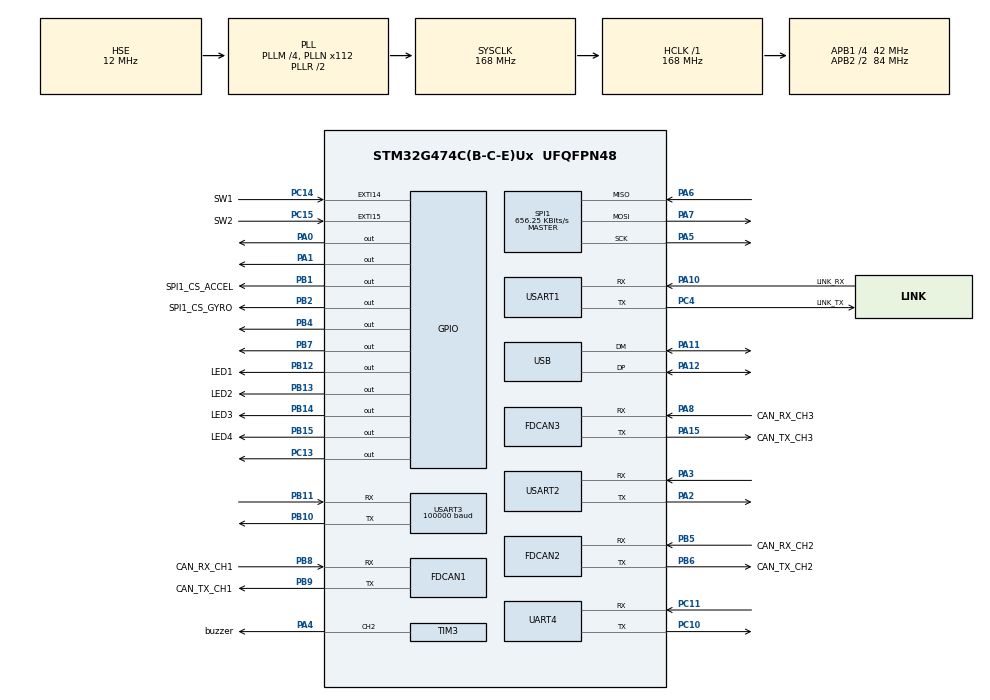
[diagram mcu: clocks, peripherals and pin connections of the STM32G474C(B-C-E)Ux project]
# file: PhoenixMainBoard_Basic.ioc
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Dma.Request0=SPI1_RX
Dma.Request1=SPI1_TX
Dma.Request2=USART2_RX
Dma.Request3=USART2_TX
Dma.Request4=UART4_RX
Dma.Request5=UART4_TX
Dma.Request6=USART3_RX
Dma.SPI1_RX.0.Direction=DMA_PERIPH_TO_MEMORY
Dma.SPI1_RX.0.EventEnable=DISABLE
Dma.SPI1_RX.0.Instance=DMA1_Channel1
Dma.SPI1_RX.0.MemDataAlignment=DMA_MDATAALIGN_BYTE
Dma.SPI1_RX.0.MemInc=DMA_MINC_ENABLE
Dma.SPI1_RX.0.Mode=DMA_NORMAL
Dma.SPI1_RX.0.PeriphDataAlignment=DMA_PDATAALIGN_BYTE
Dma.SPI1_RX.0.PeriphInc=DMA_PINC_DISABLE
Dma.SPI1_RX.0.Polarity=HAL_DMAMUX_REQ_GEN_RISING
Dma.SPI1_RX.0.Priority=DMA_PRIORITY_VERY_HIGH
Dma.SPI1_RX.0.RequestNumber=1
Dma.SPI1_RX.0.SignalID=NONE
Dma.SPI1_RX.0.SyncEnable=DISABLE
Dma.SPI1_RX.0.SyncPolarity=HAL_DMAMUX_SYNC_NO_EVENT
Dma.SPI1_RX.0.SyncRequestNumber=1
Dma.SPI1_RX.0.SyncSignalID=NONE
Dma.SPI1_TX.1.Direction=DMA_MEMORY_TO_PERIPH
Dma.SPI1_TX.1.EventEnable=DISABLE
Dma.SPI1_TX.1.Instance=DMA1_Channel2
Dma.SPI1_TX.1.MemDataAlignment=DMA_MDATAALIGN_BYTE
Dma.SPI1_TX.1.MemInc=DMA_MINC_ENABLE
Dma.SPI1_TX.1.Mode=DMA_NORMAL
Dma.SPI1_TX.1.PeriphDataAlignment=DMA_PDATAALIGN_BYTE
Dma.SPI1_TX.1.PeriphInc=DMA_PINC_DISABLE
Dma.SPI1_TX.1.Polarity=HAL_DMAMUX_REQ_GEN_RISING
Dma.SPI1_TX.1.Priority=DMA_PRIORITY_HIGH
Dma.SPI1_TX.1.RequestNumber=1
Dma.SPI1_TX.1.SignalID=NONE
Dma.SPI1_TX.1.SyncEnable=DISABLE
Dma.SPI1_TX.1.SyncPolarity=HAL_DMAMUX_SYNC_NO_EVENT
Dma.SPI1_TX.1.SyncRequestNumber=1
Dma.SPI1_TX.1.SyncSignalID=NONE
Dma.UART4_RX.4.Direction=DMA_PERIPH_TO_MEMORY
Dma.UART4_RX.4.EventEnable=DISABLE
Dma.UART4_RX.4.Instance=DMA1_Channel5
Dma.UART4_RX.4.MemDataAlignment=DMA_MDATAALIGN_BYTE
Dma.UART4_RX.4.MemInc=DMA_MINC_ENABLE
Dma.UART4_RX.4.Mode=DMA_NORMAL
Dma.UART4_RX.4.PeriphDataAlignment=DMA_PDATAALIGN_BYTE
Dma.UART4_RX.4.PeriphInc=DMA_PINC_DISABLE
Dma.UART4_RX.4.Polarity=HAL_DMAMUX_REQ_GEN_RISING
Dma.UART4_RX.4.Priority=DMA_PRIORITY_HIGH
Dma.UART4_RX.4.RequestNumber=1
Dma.UART4_RX.4.SignalID=NONE
Dma.UART4_RX.4.SyncEnable=DISABLE
Dma.UART4_RX.4.SyncPolarity=HAL_DMAMUX_SYNC_NO_EVENT
Dma.UART4_RX.4.SyncRequestNumber=1
Dma.UART4_RX.4.SyncSignalID=NONE
Dma.UART4_TX.5.Direction=DMA_MEMORY_TO_PERIPH
Dma.UART4_TX.5.EventEnable=DISABLE
Dma.UART4_TX.5.Instance=DMA1_Channel6
Dma.UART4_TX.5.MemDataAlignment=DMA_MDATAALIGN_BYTE
Dma.UART4_TX.5.MemInc=DMA_MINC_ENABLE
Dma.UART4_TX.5.Mode=DMA_NORMAL
Dma.UART4_TX.5.PeriphDataAlignment=DMA_PDATAALIGN_BYTE
Dma.UART4_TX.5.PeriphInc=DMA_PINC_DISABLE
Dma.UART4_TX.5.Polarity=HAL_DMAMUX_REQ_GEN_RISING
Dma.UART4_TX.5.Priority=DMA_PRIORITY_HIGH
Dma.UART4_TX.5.RequestNumber=1
Dma.UART4_TX.5.SignalID=NONE
Dma.UART4_TX.5.SyncEnable=DISABLE
Dma.UART4_TX.5.SyncPolarity=HAL_DMAMUX_SYNC_NO_EVENT
Dma.UART4_TX.5.SyncRequestNumber=1
Dma.UART4_TX.5.SyncSignalID=NONE
Dma.USART2_RX.2.Direction=DMA_PERIPH_TO_MEMORY
Dma.USART2_RX.2.EventEnable=DISABLE
Dma.USART2_RX.2.Instance=DMA1_Channel3
Dma.USART2_RX.2.MemDataAlignment=DMA_MDATAALIGN_BYTE
Dma.USART2_RX.2.MemInc=DMA_MINC_ENABLE
Dma.USART2_RX.2.Mode=DMA_NORMAL
Dma.USART2_RX.2.PeriphDataAlignment=DMA_PDATAALIGN_BYTE
Dma.USART2_RX.2.PeriphInc=DMA_PINC_DISABLE
Dma.USART2_RX.2.Polarity=HAL_DMAMUX_REQ_GEN_RISING
Dma.USART2_RX.2.Priority=DMA_PRIORITY_HIGH
Dma.USART2_RX.2.RequestNumber=1
Dma.USART2_RX.2.SignalID=NONE
Dma.USART2_RX.2.SyncEnable=DISABLE
Dma.USART2_RX.2.SyncPolarity=HAL_DMAMUX_SYNC_NO_EVENT
Dma.USART2_RX.2.SyncRequestNumber=1
Dma.USART2_RX.2.SyncSignalID=NONE
Dma.USART2_TX.3.Direction=DMA_MEMORY_TO_PERIPH
Dma.USART2_TX.3.EventEnable=DISABLE
Dma.USART2_TX.3.Instance=DMA1_Channel4
Dma.USART2_TX.3.MemDataAlignment=DMA_MDATAALIGN_BYTE
Dma.USART2_TX.3.MemInc=DMA_MINC_ENABLE
Dma.USART2_TX.3.Mode=DMA_NORMAL
Dma.USART2_TX.3.PeriphDataAlignment=DMA_PDATAALIGN_BYTE
Dma.USART2_TX.3.PeriphInc=DMA_PINC_DISABLE
Dma.USART2_TX.3.Polarity=HAL_DMAMUX_REQ_GEN_RISING
Dma.USART2_TX.3.Priority=DMA_PRIORITY_HIGH
Dma.USART2_TX.3.RequestNumber=1
Dma.USART2_TX.3.SignalID=NONE
Dma.USART2_TX.3.SyncEnable=DISABLE
Dma.USART2_TX.3.SyncPolarity=HAL_DMAMUX_SYNC_NO_EVENT
Dma.USART2_TX.3.SyncRequestNumber=1
Dma.USART2_TX.3.SyncSignalID=NONE
Dma.USART3_RX.6.Direction=DMA_PERIPH_TO_MEMORY
Dma.USART3_RX.6.EventEnable=DISABLE
Dma.USART3_RX.6.Instance=DMA1_Channel7
Dma.USART3_RX.6.MemDataAlignment=DMA_MDATAALIGN_BYTE
Dma.USART3_RX.6.MemInc=DMA_MINC_ENABLE
Dma.USART3_RX.6.Mode=DMA_NORMAL
Dma.USART3_RX.6.PeriphDataAlignment=DMA_PDATAALIGN_BYTE
Dma.USART3_RX.6.PeriphInc=DMA_PINC_DISABLE
Dma.USART3_RX.6.Polarity=HAL_DMAMUX_REQ_GEN_RISING
Dma.USART3_RX.6.Priority=DMA_PRIORITY_LOW
Dma.USART3_RX.6.RequestNumber=1
Dma.USART3_RX.6.SignalID=NONE
Dma.USART3_RX.6.SyncEnable=DISABLE
Dma.USART3_RX.6.SyncPolarity=HAL_DMAMUX_SYNC_NO_EVENT
Dma.USART3_RX.6.SyncRequestNumber=1
Dma.USART3_RX.6.SyncSignalID=NONE
FDCAN1.AutoRetransmission=ENABLE
FDCAN1.CalculateBaudRateNominal=1000000
FDCAN1.CalculateTimeBitNominal=1000
FDCAN1.CalculateTimeQuantumNominal=71.42857142857143
FDCAN1.NominalPrescaler=3
FDCAN1.NominalTimeSeg1=10
FDCAN1.NominalTimeSeg2=3
FDCAN2.AutoRetransmission=ENABLE
FDCAN2.CalculateBaudRateNominal=1000000
FDCAN2.CalculateTimeBitNominal=1000
FDCAN2.CalculateTimeQuantumNominal=71.42857142857143
FDCAN2.NominalPrescaler=3
FDCAN2.NominalTimeSeg1=10
FDCAN2.NominalTimeSeg2=3
FDCAN3.AutoRetransmission=ENABLE
FDCAN3.CalculateBaudRateNominal=1000000
FDCAN3.CalculateTimeBitNominal=1000
FDCAN3.CalculateTimeQuantumNominal=71.42857142857143
FDCAN3.NominalPrescaler=3
FDCAN3.NominalTimeSeg1=10
FDCAN3.NominalTimeSeg2=3
FREERTOS.INCLUDE_vTaskDelayUntil=1
FREERTOS.MEMORY_ALLOCATION=2
FREERTOS.Tasks01=defaultTask,0,128,StartDefaultTask,Default,NULL,Dynamic,NULL,NULL
FREERTOS.configENABLE_FPU=1
FREERTOS.configMAX_TASK_NAME_LEN=32
FREERTOS.configTOTAL_HEAP_SIZE=20000
FREERTOS.configUSE_COUNTING_SEMAPHORES=1
Mcu.Family=STM32G4
Mcu.Name=STM32G474C(B-C-E)Ux
Mcu.Package=UFQFPN48
NVIC.DMA1_Channel1_IRQn=true\:5\:0\:false\:false\:true\:true\:false\:true\:true
NVIC.DMA1_Channel2_IRQn=true\:5\:0\:false\:false\:true\:true\:false\:true\:true
NVIC.DMA1_Channel3_IRQn=true\:5\:0\:false\:false\:true\:true\:false\:true\:true
NVIC.DMA1_Channel4_IRQn=true\:5\:0\:false\:false\:true\:true\:false\:true\:true
NVIC.DMA1_Channel5_IRQn=true\:5\:0\:false\:false\:true\:true\:false\:true\:true
NVIC.DMA1_Channel6_IRQn=true\:5\:0\:false\:false\:true\:true\:false\:true\:true
NVIC.DMA1_Channel7_IRQn=true\:5\:0\:false\:false\:true\:true\:false\:true\:true
NVIC.EXTI15_10_IRQn=true\:5\:0\:false\:false\:true\:true\:true\:true\:true
NVIC.FDCAN1_IT0_IRQn=true\:5\:0\:false\:false\:true\:true\:true\:true\:true
NVIC.FDCAN1_IT1_IRQn=true\:5\:0\:false\:false\:true\:true\:true\:true\:true
NVIC.FDCAN2_IT0_IRQn=true\:5\:0\:false\:false\:true\:true\:true\:true\:true
NVIC.FDCAN2_IT1_IRQn=true\:5\:0\:false\:false\:true\:true\:true\:true\:true
NVIC.FDCAN3_IT0_IRQn=true\:5\:0\:false\:false\:true\:true\:true\:true\:true
NVIC.FDCAN3_IT1_IRQn=true\:5\:0\:false\:false\:true\:true\:true\:true\:true
NVIC.PriorityGroup=NVIC_PRIORITYGROUP_4
NVIC.TIM1_BRK_TIM15_IRQn=true\:15\:0\:false\:false\:true\:false\:false\:true\:true
NVIC.TimeBase=TIM1_BRK_TIM15_IRQn
NVIC.TimeBaseIP=TIM15
NVIC.UART4_IRQn=true\:5\:0\:false\:false\:true\:true\:false\:true\:true
NVIC.USART2_IRQn=true\:5\:0\:false\:false\:true\:true\:false\:true\:true
NVIC.USART3_IRQn=true\:5\:0\:false\:false\:true\:true\:true\:true\:true
NVIC.USB_LP_IRQn=true\:5\:0\:false\:false\:true\:true\:false\:true\:true
PA0.GPIO_ModeDefaultOutputPP=GPIO_MODE_OUTPUT_PP
PA0.GPIO_PuPd=GPIO_NOPULL
PA0.GPIO_Speed=GPIO_SPEED_FREQ_LOW
PA0.PinState=GPIO_PIN_RESET
PA0.Signal=GPIO_Output
PA1.Signal=GPIO_Output
PA10.GPIO_Label=LINK_RX
PA10.Mode=Asynchronous
PA10.Signal=USART1_RX
PA11.Mode=Device
PA11.Signal=USB_DM
PA12.Mode=Device
PA12.Signal=USB_DP
PA13.Mode=Serial_Wire
PA13.Signal=SYS_JTMS-SWDIO
PA14.Mode=Serial_Wire
PA14.Signal=SYS_JTCK-SWCLK
PA15.GPIO_Label=CAN_TX_CH3
PA15.Mode=FDCAN_Activate
PA15.Signal=FDCAN3_TX
PA2.Mode=Asynchronous
PA2.Signal=USART2_TX
PA3.Mode=Asynchronous
PA3.Signal=USART2_RX
PA4.GPIO_Label=buzzer
PA4.Signal=S_TIM3_CH2
PA5.GPIO_Speed=GPIO_SPEED_FREQ_VERY_HIGH
PA5.Mode=Full_Duplex_Master
PA5.Signal=SPI1_SCK
PA6.GPIO_Speed=GPIO_SPEED_FREQ_VERY_HIGH
PA6.Mode=Full_Duplex_Master
PA6.Signal=SPI1_MISO
PA7.GPIO_Speed=GPIO_SPEED_FREQ_VERY_HIGH
PA7.Mode=Full_Duplex_Master
PA7.Signal=SPI1_MOSI
PA8.GPIO_Label=CAN_RX_CH3
PA8.GPIO_Speed=GPIO_SPEED_FREQ_VERY_HIGH
PA8.Mode=FDCAN_Activate
PA8.Signal=FDCAN3_RX
PB1.GPIO_Label=SPI1_CS_ACCEL
PB1.GPIO_PuPd=GPIO_PULLUP
PB1.GPIO_Speed=GPIO_SPEED_FREQ_HIGH
PB1.PinState=GPIO_PIN_SET
PB1.Signal=GPIO_Output
PB10.GPIO_Speed=GPIO_SPEED_FREQ_VERY_HIGH
PB10.Mode=Asynchronous
PB10.Signal=USART3_TX
PB11.GPIO_Speed=GPIO_SPEED_FREQ_VERY_HIGH
PB11.Mode=Asynchronous
PB11.Signal=USART3_RX
PB12.GPIO_Label=LED1
PB12.Signal=GPIO_Output
PB13.GPIO_Label=LED2
PB13.Signal=GPIO_Output
PB14.GPIO_Label=LED3
PB14.Signal=GPIO_Output
PB15.GPIO_Label=LED4
PB15.Signal=GPIO_Output
PB2.GPIO_Label=SPI1_CS_GYRO
PB2.GPIO_PuPd=GPIO_PULLUP
PB2.GPIO_Speed=GPIO_SPEED_FREQ_HIGH
PB2.PinState=GPIO_PIN_SET
PB2.Signal=GPIO_Output
PB4.Signal=GPIO_Output
PB5.GPIO_Label=CAN_RX_CH2
PB5.GPIO_Speed=GPIO_SPEED_FREQ_VERY_HIGH
PB5.Mode=FDCAN_Activate
PB5.Signal=FDCAN2_RX
PB6.GPIO_FM6=__NULL
PB6.GPIO_Label=CAN_TX_CH2
PB6.GPIO_Speed=GPIO_SPEED_FREQ_VERY_HIGH
PB6.Mode=FDCAN_Activate
PB6.Signal=FDCAN2_TX
PB7.Signal=GPIO_Output
PB8-BOOT0.GPIO_Label=CAN_RX_CH1
PB8-BOOT0.Mode=FDCAN_Activate
PB8-BOOT0.Signal=FDCAN1_RX
PB9.GPIO_Label=CAN_TX_CH1
PB9.Mode=FDCAN_Activate
PB9.Signal=FDCAN1_TX
PC10.Mode=Asynchronous
PC10.Signal=UART4_TX
PC11.Mode=Asynchronous
PC11.Signal=UART4_RX
PC13.Signal=GPIO_Output
PC14-OSC32_IN.GPIO_Label=SW1
PC14-OSC32_IN.GPIO_PuPd=GPIO_PULLDOWN
PC14-OSC32_IN.Signal=GPXTI14
PC15-OSC32_OUT.GPIO_Label=SW2
PC15-OSC32_OUT.GPIO_PuPd=GPIO_PULLDOWN
PC15-OSC32_OUT.Signal=GPXTI15
PC4.GPIO_Label=LINK_TX
PC4.Mode=Asynchronous
PC4.Signal=USART1_TX
PF0-OSC_IN.Mode=HSE-External-Oscillator
PF0-OSC_IN.Signal=RCC_OSC_IN
PF1-OSC_OUT.Mode=HSE-External-Oscillator
PF1-OSC_OUT.Signal=RCC_OSC_OUT
ProjectManager.HeapSize=0x200
ProjectManager.StackSize=0x400
ProjectManager.TargetToolchain=Makefile
RCC.ADC12Freq_Value=168000000
RCC.ADC345Freq_Value=168000000
RCC.AHBFreq_Value=168000000
RCC.APB1CLKDivider=RCC_HCLK_DIV4
RCC.APB1Freq_Value=42000000
RCC.APB1TimFreq_Value=84000000
RCC.APB2CLKDivider=RCC_HCLK_DIV2
RCC.APB2Freq_Value=84000000
RCC.APB2TimFreq_Value=168000000
RCC.CK48CLockSelection=RCC_USBCLKSOURCE_HSI48
RCC.CortexFreq_Value=168000000
RCC.EXTERNAL_CLOCK_VALUE=12288000
RCC.HCLKFreq_Value=168000000
RCC.HSE_VALUE=12000000
RCC.HSI48_VALUE=48000000
RCC.HSI_VALUE=16000000
RCC.LSE_VALUE=32768
RCC.PLLM=RCC_PLLM_DIV4
RCC.PLLN=112
RCC.PLLQ=RCC_PLLQ_DIV8
RCC.PLLSourceVirtual=RCC_PLLSOURCE_HSE
RCC.SYSCLKFreq_VALUE=168000000
RCC.SYSCLKSource=RCC_SYSCLKSOURCE_PLLCLK
RCC.USBFreq_Value=48000000
RCC.VCOOutputFreq_Value=336000000
SH.S_TIM3_CH2.0=TIM3_CH2,PWM Generation2 CH2
SPI1.BaudRatePrescaler=SPI_BAUDRATEPRESCALER_128
SPI1.CLKPhase=SPI_PHASE_2EDGE
SPI1.CLKPolarity=SPI_POLARITY_HIGH
SPI1.CalculateBaudRate=656.25 KBits/s
SPI1.DataSize=SPI_DATASIZE_8BIT
SPI1.Direction=SPI_DIRECTION_2LINES
SPI1.Mode=SPI_MODE_MASTER
SPI1.VirtualType=VM_MASTER
STMicroelectronics.X-CUBE-ALGOBUILD.1.4.0.LibraryCcDSPOoLibraryJjDSPOoLibrary=true
TIM3.Channel-PWM\ Generation2\ CH2=TIM_CHANNEL_2
TIM3.Prescaler=4
USART1.VirtualMode-Asynchronous=VM_ASYNC
USART2.VirtualMode-Asynchronous=VM_ASYNC
USART3.BaudRate=100000
USART3.Parity=PARITY_EVEN
USART3.VirtualMode-Asynchronous=VM_ASYNC
USART3.WordLength=WORDLENGTH_9B
USB_DEVICE.CLASS_NAME_FS=CDC
USB_DEVICE.VirtualMode=Cdc
USB_DEVICE.VirtualModeFS=Cdc_FS
VP_FREERTOS_VS_CMSIS_V1.Mode=CMSIS_V1
VP_STMicroelectronics.X-CUBE-ALGOBUILD_VS_DSPOoLibraryJjLibrary_1.4.0_1.4.0.Mode=DSPOoLibraryJjLibrary
VP_SYS_VS_DBSignals.Mode=DisableDeadBatterySignals
VP_SYS_VS_tim15.Mode=TIM15
VP_USB_DEVICE_VS_USB_DEVICE_CDC_FS.Mode=CDC_FS
board=custom

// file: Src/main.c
/* USER CODE BEGIN Header */
/**
  ******************************************************************************
  * @file           : main.c
  * @brief          : Main program body
  ******************************************************************************
  * @attention
  *
  * <h2><center>&copy; Copyright (c) 2019 STMicroelectronics.
  * All rights reserved.</center></h2>
  *
  * This software component is licensed by ST under Ultimate Liberty license
  * SLA0044, the "License"; You may not use this file except in compliance with
  * the License. You may obtain a copy of the License at:
  *                             www.st.com/SLA0044
  *
  ******************************************************************************
  */
/* USER CODE END Header */
#include "main.h"
#include "cmsis_os.h"
#include "usb_device.h"

/* USER CODE BEGIN Includes */
#include "BMI088driver.h"
#include "BMI088Middleware.h"
/* USER CODE END Includes */

FDCAN_HandleTypeDef hfdcan1;
FDCAN_HandleTypeDef hfdcan2;
FDCAN_HandleTypeDef hfdcan3;

SPI_HandleTypeDef hspi1;
DMA_HandleTypeDef hdma_spi1_rx;
DMA_HandleTypeDef hdma_spi1_tx;

TIM_HandleTypeDef htim3;

UART_HandleTypeDef huart4;
UART_HandleTypeDef huart1;
UART_HandleTypeDef huart2;
UART_HandleTypeDef huart3;
DMA_HandleTypeDef hdma_uart4_rx;
DMA_HandleTypeDef hdma_uart4_tx;
DMA_HandleTypeDef hdma_usart2_rx;
DMA_HandleTypeDef hdma_usart2_tx;
DMA_HandleTypeDef hdma_usart3_rx;

osThreadId defaultTaskHandle;
/* USER CODE BEGIN PV */
FDCAN_TxHeaderTypeDef  TxHeader;
FDCAN_RxHeaderTypeDef  RxHeader;
FDCAN_FilterTypeDef  sFilterConfig;

uint8_t               TxData[8];
uint8_t               RxData[8];
uint32_t              TxMailbox;
/* USER CODE END PV */

void SystemClock_Config(void);
static void MX_GPIO_Init(void);
static void MX_DMA_Init(void);
static void MX_FDCAN1_Init(void);
static void MX_FDCAN2_Init(void);
static void MX_SPI1_Init(void);
static void MX_UART4_Init(void);
static void MX_USART1_UART_Init(void);
static void MX_USART2_UART_Init(void);
static void MX_USART3_UART_Init(void);
static void MX_FDCAN3_Init(void);
static void MX_TIM3_Init(void);
void StartDefaultTask(void const * argument);

/* USER CODE BEGIN PFP */
void buzzer_beep(int init_fre, int cnt);
void testCanSend(uint16_t current);
void setPSC(uint32_t TIMHz,uint32_t destFreq, TIM_HandleTypeDef* htim, uint32_t Channel, uint32_t MaxCounterPeriod);

/* USER CODE END PFP */

/* USER CODE BEGIN 0 */
fp32 gyro[3], accel[3], temp;
float accelx,accely,accelz;
float gyrox,gyroy,gyroz;
int counter=0;
int checker=0;
int exti = 0;
int freq = 2100,cnt_req=1;
uint8_t tx_data,rx_data,res;
uint16_t current=0;
/* USER CODE END 0 */

int main(void)
{

  /* MCU Configuration--------------------------------------------------------*/

  /* Reset of all peripherals, Initializes the Flash interface and the Systick. */
  HAL_Init();

  /* Configure the system clock */
  SystemClock_Config();

  /* Initialize all configured peripherals */
  MX_GPIO_Init();
  MX_DMA_Init();
  MX_FDCAN1_Init();
  MX_FDCAN2_Init();
  MX_SPI1_Init();
  MX_UART4_Init();
  MX_USART1_UART_Init();
  MX_USART2_UART_Init();
  MX_USART3_UART_Init();
  MX_FDCAN3_Init();
  MX_TIM3_Init();
  /* USER CODE BEGIN 2 */
  checker = 1;
  // BMI088_initはBMI088_Delay_usにバグがある�?????��?��??��?��???��?��??��?��でHAL_Delayに入れ替えれば動く
  while(BMI088_init())
  {
      ;
  }

  //CAN init
  if (HAL_FDCAN_Start(&hfdcan1) != HAL_OK){ Error_Handler();}
  if (HAL_FDCAN_Start(&hfdcan2) != HAL_OK){ Error_Handler();}
  if (HAL_FDCAN_Start(&hfdcan3) != HAL_OK){ Error_Handler();}

  if (HAL_FDCAN_ActivateNotification(&hfdcan1, FDCAN_IT_RX_FIFO0_NEW_MESSAGE, 0) != HAL_OK) {	Error_Handler(); }
  if (HAL_FDCAN_ActivateNotification(&hfdcan2, FDCAN_IT_RX_FIFO0_NEW_MESSAGE, 0) != HAL_OK) {	Error_Handler(); }
  if (HAL_FDCAN_ActivateNotification(&hfdcan3, FDCAN_IT_RX_FIFO0_NEW_MESSAGE, 0) != HAL_OK) {	Error_Handler(); }

  //PWM init
  HAL_TIM_PWM_Start(&htim3, TIM_CHANNEL_2);
  int init_fre = 2100;
  int cnt = 2;
  buzzer_beep(init_fre,cnt);

	HAL_GPIO_WritePin(LED1_GPIO_Port,LED1_Pin,GPIO_PIN_SET);
	HAL_GPIO_WritePin(LED2_GPIO_Port,LED2_Pin,GPIO_PIN_SET);
	HAL_GPIO_WritePin(LED3_GPIO_Port,LED3_Pin,GPIO_PIN_SET);
	HAL_GPIO_WritePin(LED4_GPIO_Port,LED4_Pin,GPIO_PIN_SET);
  checker = 2;
  /* USER CODE END 2 */

  /* Create the thread(s) */
  /* definition and creation of defaultTask */
  osThreadDef(defaultTask, StartDefaultTask, osPriorityNormal, 0, 128);
  defaultTaskHandle = osThreadCreate(osThread(defaultTask), NULL);

  /* USER CODE BEGIN RTOS_THREADS */
  /* add threads, ... */
  checker = 3;
  /* USER CODE END RTOS_THREADS */

  /* Start scheduler */
  osKernelStart();

  /* We should never get here as control is now taken by the scheduler */

  /* Infinite loop */
  /* USER CODE BEGIN WHILE */
  checker = 4;
  while (1)
  {
    /* USER CODE END WHILE */

  }
}

void SystemClock_Config(void)
{
  RCC_OscInitTypeDef RCC_OscInitStruct = {0};
  RCC_ClkInitTypeDef RCC_ClkInitStruct = {0};

  /** Configure the main internal regulator output voltage
  */
  HAL_PWREx_ControlVoltageScaling(PWR_REGULATOR_VOLTAGE_SCALE1_BOOST);

  /** Initializes the RCC Oscillators according to the specified parameters
  * in the RCC_OscInitTypeDef structure.
  */
  RCC_OscInitStruct.OscillatorType = RCC_OSCILLATORTYPE_HSI48|RCC_OSCILLATORTYPE_HSE;
  RCC_OscInitStruct.HSEState = RCC_HSE_ON;
  RCC_OscInitStruct.HSI48State = RCC_HSI48_ON;
  RCC_OscInitStruct.PLL.PLLState = RCC_PLL_ON;
  RCC_OscInitStruct.PLL.PLLSource = RCC_PLLSOURCE_HSE;
  RCC_OscInitStruct.PLL.PLLM = RCC_PLLM_DIV4;
  RCC_OscInitStruct.PLL.PLLN = 112;
  RCC_OscInitStruct.PLL.PLLP = RCC_PLLP_DIV2;
  RCC_OscInitStruct.PLL.PLLQ = RCC_PLLQ_DIV8;
  RCC_OscInitStruct.PLL.PLLR = RCC_PLLR_DIV2;
  if (HAL_RCC_OscConfig(&RCC_OscInitStruct) != HAL_OK)
  {
    Error_Handler();
  }

  /** Initializes the CPU, AHB and APB buses clocks
  */
  RCC_ClkInitStruct.ClockType = RCC_CLOCKTYPE_HCLK|RCC_CLOCKTYPE_SYSCLK
                              |RCC_CLOCKTYPE_PCLK1|RCC_CLOCKTYPE_PCLK2;
  RCC_ClkInitStruct.SYSCLKSource = RCC_SYSCLKSOURCE_PLLCLK;
  RCC_ClkInitStruct.AHBCLKDivider = RCC_SYSCLK_DIV1;
  RCC_ClkInitStruct.APB1CLKDivider = RCC_HCLK_DIV4;
  RCC_ClkInitStruct.APB2CLKDivider = RCC_HCLK_DIV2;

  if (HAL_RCC_ClockConfig(&RCC_ClkInitStruct, FLASH_LATENCY_4) != HAL_OK)
  {
    Error_Handler();
  }
}

static void MX_FDCAN1_Init(void)
{

  hfdcan1.Instance = FDCAN1;
  hfdcan1.Init.ClockDivider = FDCAN_CLOCK_DIV1;
  hfdcan1.Init.FrameFormat = FDCAN_FRAME_CLASSIC;
  hfdcan1.Init.Mode = FDCAN_MODE_NORMAL;
  hfdcan1.Init.AutoRetransmission = ENABLE;
  hfdcan1.Init.TransmitPause = DISABLE;
  hfdcan1.Init.ProtocolException = DISABLE;
  hfdcan1.Init.NominalPrescaler = 3;
  hfdcan1.Init.NominalSyncJumpWidth = 1;
  hfdcan1.Init.NominalTimeSeg1 = 10;
  hfdcan1.Init.NominalTimeSeg2 = 3;
  hfdcan1.Init.DataPrescaler = 1;
  hfdcan1.Init.DataSyncJumpWidth = 1;
  hfdcan1.Init.DataTimeSeg1 = 1;
  hfdcan1.Init.DataTimeSeg2 = 1;
  hfdcan1.Init.StdFiltersNbr = 0;
  hfdcan1.Init.ExtFiltersNbr = 0;
  hfdcan1.Init.TxFifoQueueMode = FDCAN_TX_FIFO_OPERATION;
  if (HAL_FDCAN_Init(&hfdcan1) != HAL_OK)
  {
    Error_Handler();
  }

}

static void MX_FDCAN2_Init(void)
{

  hfdcan2.Instance = FDCAN2;
  hfdcan2.Init.ClockDivider = FDCAN_CLOCK_DIV1;
  hfdcan2.Init.FrameFormat = FDCAN_FRAME_CLASSIC;
  hfdcan2.Init.Mode = FDCAN_MODE_NORMAL;
  hfdcan2.Init.AutoRetransmission = ENABLE;
  hfdcan2.Init.TransmitPause = DISABLE;
  hfdcan2.Init.ProtocolException = DISABLE;
  hfdcan2.Init.NominalPrescaler = 3;
  hfdcan2.Init.NominalSyncJumpWidth = 1;
  hfdcan2.Init.NominalTimeSeg1 = 10;
  hfdcan2.Init.NominalTimeSeg2 = 3;
  hfdcan2.Init.DataPrescaler = 1;
  hfdcan2.Init.DataSyncJumpWidth = 1;
  hfdcan2.Init.DataTimeSeg1 = 1;
  hfdcan2.Init.DataTimeSeg2 = 1;
  hfdcan2.Init.StdFiltersNbr = 0;
  hfdcan2.Init.ExtFiltersNbr = 0;
  hfdcan2.Init.TxFifoQueueMode = FDCAN_TX_FIFO_OPERATION;
  if (HAL_FDCAN_Init(&hfdcan2) != HAL_OK)
  {
    Error_Handler();
  }

}

static void MX_FDCAN3_Init(void)
{

  hfdcan3.Instance = FDCAN3;
  hfdcan3.Init.ClockDivider = FDCAN_CLOCK_DIV1;
  hfdcan3.Init.FrameFormat = FDCAN_FRAME_CLASSIC;
  hfdcan3.Init.Mode = FDCAN_MODE_NORMAL;
  hfdcan3.Init.AutoRetransmission = ENABLE;
  hfdcan3.Init.TransmitPause = DISABLE;
  hfdcan3.Init.ProtocolException = DISABLE;
  hfdcan3.Init.NominalPrescaler = 3;
  hfdcan3.Init.NominalSyncJumpWidth = 1;
  hfdcan3.Init.NominalTimeSeg1 = 10;
  hfdcan3.Init.NominalTimeSeg2 = 3;
  hfdcan3.Init.DataPrescaler = 1;
  hfdcan3.Init.DataSyncJumpWidth = 1;
  hfdcan3.Init.DataTimeSeg1 = 1;
  hfdcan3.Init.DataTimeSeg2 = 1;
  hfdcan3.Init.StdFiltersNbr = 0;
  hfdcan3.Init.ExtFiltersNbr = 0;
  hfdcan3.Init.TxFifoQueueMode = FDCAN_TX_FIFO_OPERATION;
  if (HAL_FDCAN_Init(&hfdcan3) != HAL_OK)
  {
    Error_Handler();
  }

}

static void MX_SPI1_Init(void)
{

  /* SPI1 parameter configuration*/
  hspi1.Instance = SPI1;
  hspi1.Init.Mode = SPI_MODE_MASTER;
  hspi1.Init.Direction = SPI_DIRECTION_2LINES;
  hspi1.Init.DataSize = SPI_DATASIZE_8BIT;
  hspi1.Init.CLKPolarity = SPI_POLARITY_HIGH;
  hspi1.Init.CLKPhase = SPI_PHASE_2EDGE;
  hspi1.Init.NSS = SPI_NSS_SOFT;
  hspi1.Init.BaudRatePrescaler = SPI_BAUDRATEPRESCALER_128;
  hspi1.Init.FirstBit = SPI_FIRSTBIT_MSB;
  hspi1.Init.TIMode = SPI_TIMODE_DISABLE;
  hspi1.Init.CRCCalculation = SPI_CRCCALCULATION_DISABLE;
  hspi1.Init.CRCPolynomial = 7;
  hspi1.Init.CRCLength = SPI_CRC_LENGTH_DATASIZE;
  hspi1.Init.NSSPMode = SPI_NSS_PULSE_DISABLE;
  if (HAL_SPI_Init(&hspi1) != HAL_OK)
  {
    Error_Handler();
  }

}

static void MX_TIM3_Init(void)
{

  TIM_MasterConfigTypeDef sMasterConfig = {0};
  TIM_OC_InitTypeDef sConfigOC = {0};

  htim3.Instance = TIM3;
  htim3.Init.Prescaler = 4;
  htim3.Init.CounterMode = TIM_COUNTERMODE_UP;
  htim3.Init.Period = 65535;
  htim3.Init.ClockDivision = TIM_CLOCKDIVISION_DIV1;
  htim3.Init.AutoReloadPreload = TIM_AUTORELOAD_PRELOAD_DISABLE;
  if (HAL_TIM_PWM_Init(&htim3) != HAL_OK)
  {
    Error_Handler();
  }
  sMasterConfig.MasterOutputTrigger = TIM_TRGO_RESET;
  sMasterConfig.MasterSlaveMode = TIM_MASTERSLAVEMODE_DISABLE;
  if (HAL_TIMEx_MasterConfigSynchronization(&htim3, &sMasterConfig) != HAL_OK)
  {
    Error_Handler();
  }
  sConfigOC.OCMode = TIM_OCMODE_PWM1;
  sConfigOC.Pulse = 0;
  sConfigOC.OCPolarity = TIM_OCPOLARITY_HIGH;
  sConfigOC.OCFastMode = TIM_OCFAST_DISABLE;
  if (HAL_TIM_PWM_ConfigChannel(&htim3, &sConfigOC, TIM_CHANNEL_2) != HAL_OK)
  {
    Error_Handler();
  }
  HAL_TIM_MspPostInit(&htim3);

}

static void MX_UART4_Init(void)
{

  huart4.Instance = UART4;
  huart4.Init.BaudRate = 115200;
  huart4.Init.WordLength = UART_WORDLENGTH_8B;
  huart4.Init.StopBits = UART_STOPBITS_1;
  huart4.Init.Parity = UART_PARITY_NONE;
  huart4.Init.Mode = UART_MODE_TX_RX;
  huart4.Init.HwFlowCtl = UART_HWCONTROL_NONE;
  huart4.Init.OverSampling = UART_OVERSAMPLING_16;
  huart4.Init.OneBitSampling = UART_ONE_BIT_SAMPLE_DISABLE;
  huart4.Init.ClockPrescaler = UART_PRESCALER_DIV1;
  huart4.AdvancedInit.AdvFeatureInit = UART_ADVFEATURE_NO_INIT;
  if (HAL_UART_Init(&huart4) != HAL_OK)
  {
    Error_Handler();
  }
  if (HAL_UARTEx_SetTxFifoThreshold(&huart4, UART_TXFIFO_THRESHOLD_1_8) != HAL_OK)
  {
    Error_Handler();
  }
  if (HAL_UARTEx_SetRxFifoThreshold(&huart4, UART_RXFIFO_THRESHOLD_1_8) != HAL_OK)
  {
    Error_Handler();
  }
  if (HAL_UARTEx_DisableFifoMode(&huart4) != HAL_OK)
  {
    Error_Handler();
  }

}

static void MX_USART1_UART_Init(void)
{

  huart1.Instance = USART1;
  huart1.Init.BaudRate = 115200;
  huart1.Init.WordLength = UART_WORDLENGTH_8B;
  huart1.Init.StopBits = UART_STOPBITS_1;
  huart1.Init.Parity = UART_PARITY_NONE;
  huart1.Init.Mode = UART_MODE_TX_RX;
  huart1.Init.HwFlowCtl = UART_HWCONTROL_NONE;
  huart1.Init.OverSampling = UART_OVERSAMPLING_16;
  huart1.Init.OneBitSampling = UART_ONE_BIT_SAMPLE_DISABLE;
  huart1.Init.ClockPrescaler = UART_PRESCALER_DIV1;
  huart1.AdvancedInit.AdvFeatureInit = UART_ADVFEATURE_NO_INIT;
  if (HAL_UART_Init(&huart1) != HAL_OK)
  {
    Error_Handler();
  }
  if (HAL_UARTEx_SetTxFifoThreshold(&huart1, UART_TXFIFO_THRESHOLD_1_8) != HAL_OK)
  {
    Error_Handler();
  }
  if (HAL_UARTEx_SetRxFifoThreshold(&huart1, UART_RXFIFO_THRESHOLD_1_8) != HAL_OK)
  {
    Error_Handler();
  }
  if (HAL_UARTEx_DisableFifoMode(&huart1) != HAL_OK)
  {
    Error_Handler();
  }

}

static void MX_USART2_UART_Init(void)
{

  huart2.Instance = USART2;
  huart2.Init.BaudRate = 115200;
  huart2.Init.WordLength = UART_WORDLENGTH_8B;
  huart2.Init.StopBits = UART_STOPBITS_1;
  huart2.Init.Parity = UART_PARITY_NONE;
  huart2.Init.Mode = UART_MODE_TX_RX;
  huart2.Init.HwFlowCtl = UART_HWCONTROL_NONE;
  huart2.Init.OverSampling = UART_OVERSAMPLING_16;
  huart2.Init.OneBitSampling = UART_ONE_BIT_SAMPLE_DISABLE;
  huart2.Init.ClockPrescaler = UART_PRESCALER_DIV1;
  huart2.AdvancedInit.AdvFeatureInit = UART_ADVFEATURE_NO_INIT;
  if (HAL_UART_Init(&huart2) != HAL_OK)
  {
    Error_Handler();
  }
  if (HAL_UARTEx_SetTxFifoThreshold(&huart2, UART_TXFIFO_THRESHOLD_1_8) != HAL_OK)
  {
    Error_Handler();
  }
  if (HAL_UARTEx_SetRxFifoThreshold(&huart2, UART_RXFIFO_THRESHOLD_1_8) != HAL_OK)
  {
    Error_Handler();
  }
  if (HAL_UARTEx_DisableFifoMode(&huart2) != HAL_OK)
  {
    Error_Handler();
  }

}

static void MX_USART3_UART_Init(void)
{

  huart3.Instance = USART3;
  huart3.Init.BaudRate = 100000;
  huart3.Init.WordLength = UART_WORDLENGTH_9B;
  huart3.Init.StopBits = UART_STOPBITS_1;
  huart3.Init.Parity = UART_PARITY_EVEN;
  huart3.Init.Mode = UART_MODE_TX_RX;
  huart3.Init.HwFlowCtl = UART_HWCONTROL_NONE;
  huart3.Init.OverSampling = UART_OVERSAMPLING_16;
  huart3.Init.OneBitSampling = UART_ONE_BIT_SAMPLE_DISABLE;
  huart3.Init.ClockPrescaler = UART_PRESCALER_DIV1;
  huart3.AdvancedInit.AdvFeatureInit = UART_ADVFEATURE_NO_INIT;
  if (HAL_UART_Init(&huart3) != HAL_OK)
  {
    Error_Handler();
  }
  if (HAL_UARTEx_SetTxFifoThreshold(&huart3, UART_TXFIFO_THRESHOLD_1_8) != HAL_OK)
  {
    Error_Handler();
  }
  if (HAL_UARTEx_SetRxFifoThreshold(&huart3, UART_RXFIFO_THRESHOLD_1_8) != HAL_OK)
  {
    Error_Handler();
  }
  if (HAL_UARTEx_DisableFifoMode(&huart3) != HAL_OK)
  {
    Error_Handler();
  }

}

static void MX_DMA_Init(void)
{

  /* DMA controller clock enable */
  __HAL_RCC_DMAMUX1_CLK_ENABLE();
  __HAL_RCC_DMA1_CLK_ENABLE();

  /* DMA interrupt init */
  /* DMA1_Channel1_IRQn interrupt configuration */
  HAL_NVIC_SetPriority(DMA1_Channel1_IRQn, 5, 0);
  HAL_NVIC_EnableIRQ(DMA1_Channel1_IRQn);
  /* DMA1_Channel2_IRQn interrupt configuration */
  HAL_NVIC_SetPriority(DMA1_Channel2_IRQn, 5, 0);
  HAL_NVIC_EnableIRQ(DMA1_Channel2_IRQn);
  /* DMA1_Channel3_IRQn interrupt configuration */
  HAL_NVIC_SetPriority(DMA1_Channel3_IRQn, 5, 0);
  HAL_NVIC_EnableIRQ(DMA1_Channel3_IRQn);
  /* DMA1_Channel4_IRQn interrupt configuration */
  HAL_NVIC_SetPriority(DMA1_Channel4_IRQn, 5, 0);
  HAL_NVIC_EnableIRQ(DMA1_Channel4_IRQn);
  /* DMA1_Channel5_IRQn interrupt configuration */
  HAL_NVIC_SetPriority(DMA1_Channel5_IRQn, 5, 0);
  HAL_NVIC_EnableIRQ(DMA1_Channel5_IRQn);
  /* DMA1_Channel6_IRQn interrupt configuration */
  HAL_NVIC_SetPriority(DMA1_Channel6_IRQn, 5, 0);
  HAL_NVIC_EnableIRQ(DMA1_Channel6_IRQn);
  /* DMA1_Channel7_IRQn interrupt configuration */
  HAL_NVIC_SetPriority(DMA1_Channel7_IRQn, 5, 0);
  HAL_NVIC_EnableIRQ(DMA1_Channel7_IRQn);

}

static void MX_GPIO_Init(void)
{
  GPIO_InitTypeDef GPIO_InitStruct = {0};

  /* GPIO Ports Clock Enable */
  __HAL_RCC_GPIOC_CLK_ENABLE();
  __HAL_RCC_GPIOF_CLK_ENABLE();
  __HAL_RCC_GPIOA_CLK_ENABLE();
  __HAL_RCC_GPIOB_CLK_ENABLE();

  /*Configure GPIO pin Output Level */
  HAL_GPIO_WritePin(GPIOC, GPIO_PIN_13, GPIO_PIN_RESET);

  /*Configure GPIO pin Output Level */
  HAL_GPIO_WritePin(GPIOA, GPIO_PIN_0|GPIO_PIN_1, GPIO_PIN_RESET);

  /*Configure GPIO pin Output Level */
  HAL_GPIO_WritePin(GPIOB, SPI1_CS_ACCEL_Pin|SPI1_CS_GYRO_Pin, GPIO_PIN_SET);

  /*Configure GPIO pin Output Level */
  HAL_GPIO_WritePin(GPIOB, LED1_Pin|LED2_Pin|LED3_Pin|LED4_Pin
                          |GPIO_PIN_4|GPIO_PIN_7, GPIO_PIN_RESET);

  /*Configure GPIO pin : PC13 */
  GPIO_InitStruct.Pin = GPIO_PIN_13;
  GPIO_InitStruct.Mode = GPIO_MODE_OUTPUT_PP;
  GPIO_InitStruct.Pull = GPIO_NOPULL;
  GPIO_InitStruct.Speed = GPIO_SPEED_FREQ_LOW;
  HAL_GPIO_Init(GPIOC, &GPIO_InitStruct);

  /*Configure GPIO pins : SW1_Pin SW2_Pin */
  GPIO_InitStruct.Pin = SW1_Pin|SW2_Pin;
  GPIO_InitStruct.Mode = GPIO_MODE_IT_RISING;
  GPIO_InitStruct.Pull = GPIO_PULLDOWN;
  HAL_GPIO_Init(GPIOC, &GPIO_InitStruct);

  /*Configure GPIO pins : PA0 PA1 */
  GPIO_InitStruct.Pin = GPIO_PIN_0|GPIO_PIN_1;
  GPIO_InitStruct.Mode = GPIO_MODE_OUTPUT_PP;
  GPIO_InitStruct.Pull = GPIO_NOPULL;
  GPIO_InitStruct.Speed = GPIO_SPEED_FREQ_LOW;
  HAL_GPIO_Init(GPIOA, &GPIO_InitStruct);

  /*Configure GPIO pins : SPI1_CS_ACCEL_Pin SPI1_CS_GYRO_Pin */
  GPIO_InitStruct.Pin = SPI1_CS_ACCEL_Pin|SPI1_CS_GYRO_Pin;
  GPIO_InitStruct.Mode = GPIO_MODE_OUTPUT_PP;
  GPIO_InitStruct.Pull = GPIO_PULLUP;
  GPIO_InitStruct.Speed = GPIO_SPEED_FREQ_HIGH;
  HAL_GPIO_Init(GPIOB, &GPIO_InitStruct);

  /*Configure GPIO pins : LED1_Pin LED2_Pin LED3_Pin LED4_Pin
                           PB4 PB7 */
  GPIO_InitStruct.Pin = LED1_Pin|LED2_Pin|LED3_Pin|LED4_Pin
                          |GPIO_PIN_4|GPIO_PIN_7;
  GPIO_InitStruct.Mode = GPIO_MODE_OUTPUT_PP;
  GPIO_InitStruct.Pull = GPIO_NOPULL;
  GPIO_InitStruct.Speed = GPIO_SPEED_FREQ_LOW;
  HAL_GPIO_Init(GPIOB, &GPIO_InitStruct);

  /* EXTI interrupt init*/
  HAL_NVIC_SetPriority(EXTI15_10_IRQn, 5, 0);
  HAL_NVIC_EnableIRQ(EXTI15_10_IRQn);

}

/* USER CODE BEGIN 4 */
void buzzer_beep(int init_fre, int cnt){
  for(int i=0;i<cnt;i++) {
    //第?????��?��??��?��???��?��??��?��????��?��??��?��???��?��??��?��引数に鳴らしたい周波数を設????��?��??��?��???��?��??��?��?
		setPSC(168000000, init_fre, &htim3, TIM_CHANNEL_2, 65535);
    HAL_Delay(100);
		__HAL_TIM_SET_COMPARE(&htim3, TIM_CHANNEL_2, 0);
		HAL_Delay(100);
	}
}

void HAL_GPIO_EXTI_Callback(uint16_t GPIO_Pin){
  if(GPIO_Pin == SW1_Pin){
    exti++;
    HAL_GPIO_TogglePin(LED1_GPIO_Port,LED1_Pin);
    freq = 2400;
    cnt_req = 2;
  }
  if(GPIO_Pin == SW2_Pin){
    exti++;
    HAL_GPIO_TogglePin(LED2_GPIO_Port,LED2_Pin);
    freq = 2700;
    cnt_req = 4;
  }
}

void testCanSend(uint16_t current) {
	uint8_t senddata[8] = {0};

	TxHeader.Identifier = 0x200;
	TxHeader.IdType = FDCAN_STANDARD_ID;
	TxHeader.TxFrameType = FDCAN_DATA_FRAME;
	TxHeader.DataLength = FDCAN_DLC_BYTES_8;
	TxHeader.ErrorStateIndicator = FDCAN_ESI_ACTIVE;
	TxHeader.BitRateSwitch = FDCAN_BRS_ON;
	TxHeader.FDFormat = FDCAN_CLASSIC_CAN;
	TxHeader.TxEventFifoControl = FDCAN_NO_TX_EVENTS;
	TxHeader.MessageMarker = 0;

	// uint16_t _currentValue = 10;
	uint16_t _currentValue = current;
	memcpy(senddata+0,&_currentValue,2);

	/*if (HAL_FDCAN_AddMessageToTxFifoQ(&hfdcan1, &TxHeader, senddata) != HAL_OK)
	{
		//HAL_GPIO_WritePin(LED1_GPIO_Port,LED1_Pin,GPIO_PIN_SET);
		Error_Handler();
	} else {
		//HAL_GPIO_WritePin(LED1_GPIO_Port,LED1_Pin,GPIO_PIN_RESET);
	}
	while(HAL_FDCAN_GetTxFifoFreeLevel(&hfdcan1) != 3) {}*/

	if(HAL_FDCAN_GetTxFifoFreeLevel(&hfdcan1) > 0) {
		if (HAL_FDCAN_AddMessageToTxFifoQ(&hfdcan1,&TxHeader, senddata) != HAL_OK) {
			uint32_t txFifoRequest = HAL_FDCAN_GetLatestTxFifoQRequestBuffer(&hfdcan1);
			HAL_FDCAN_AbortTxRequest(&hfdcan1, txFifoRequest);

			return HAL_ERROR;
		}
	}

	if(HAL_FDCAN_GetTxFifoFreeLevel(&hfdcan2) > 0) {
		if (HAL_FDCAN_AddMessageToTxFifoQ(&hfdcan2,&TxHeader, senddata) != HAL_OK) {
			uint32_t txFifoRequest = HAL_FDCAN_GetLatestTxFifoQRequestBuffer(&hfdcan2);
			HAL_FDCAN_AbortTxRequest(&hfdcan2, txFifoRequest);

			return HAL_ERROR;
		}
	}

	if(HAL_FDCAN_GetTxFifoFreeLevel(&hfdcan3) > 0) {
		if (HAL_FDCAN_AddMessageToTxFifoQ(&hfdcan3,&TxHeader, senddata) != HAL_OK) {
			uint32_t txFifoRequest = HAL_FDCAN_GetLatestTxFifoQRequestBuffer(&hfdcan3);
			HAL_FDCAN_AbortTxRequest(&hfdcan3, txFifoRequest);

			return HAL_ERROR;
		}
	}
}

void setPSC(uint32_t TIMHz, uint32_t destFreq, TIM_HandleTypeDef* htim, uint32_t Channel, uint32_t MaxCounterPeriod){
	uint32_t psc = 1;
	uint32_t cmax = 0;

	// ????��?��??��?��???��?��??��?��?適なPSC値を探索
	while((cmax = ((TIMHz/ psc)/ destFreq)) > MaxCounterPeriod){
		psc++;
		if(psc > MaxCounterPeriod)
			break;
	}

	// ARR値を算�?????��?��??��?��???��?��??��?��するためのCount値を算�?????��?��??��?��???��?��??��?��
	uint32_t count = (TIMHz/ psc)/ destFreq;

	// TIMの設定を変更・カウンタ値と比�?
	htim->Instance->PSC = psc - 1;
	htim->Instance->ARR = count - 1;
	__HAL_TIM_SET_COMPARE(&htim3, Channel, cmax / 2);
}
/* USER CODE END 4 */

void StartDefaultTask(void const * argument)
{
  /* init code for USB_Device */
  MX_USB_Device_Init();
  /* USER CODE BEGIN 5 */
  /* Infinite loop */
  for(;;)
  {
    static int exti_old = 0;
    checker = 5;
    BMI088_read(gyro, accel, &temp);
    accelx = accel[0];
    accely = accel[1];
    accelz = accel[2];
    gyrox = gyro[0];
    gyroy = gyro[1];
    gyroz = gyro[2];
    if(counter > 100){
      HAL_GPIO_TogglePin(LED3_GPIO_Port,LED3_Pin);
      HAL_GPIO_TogglePin(LED4_GPIO_Port,LED4_Pin);
      counter = 0;
    }else{
      counter++;
    }
    if(exti != exti_old){
      buzzer_beep(freq,cnt_req);
      exti_old = exti;
    }
    if(HAL_GPIO_ReadPin(SW1_GPIO_Port,SW1_Pin) == 1){
      current = 10;
      testCanSend(current);
    }else{
      current = 0;
      testCanSend(current);
    }
    osDelay(10);
  }
  /* USER CODE END 5 */
}

void HAL_TIM_PeriodElapsedCallback(TIM_HandleTypeDef *htim)
{
  if (htim->Instance == TIM15) {
    HAL_IncTick();
  }
}

void Error_Handler(void)
{
  __disable_irq();
  while (1)
  {
  }
}
